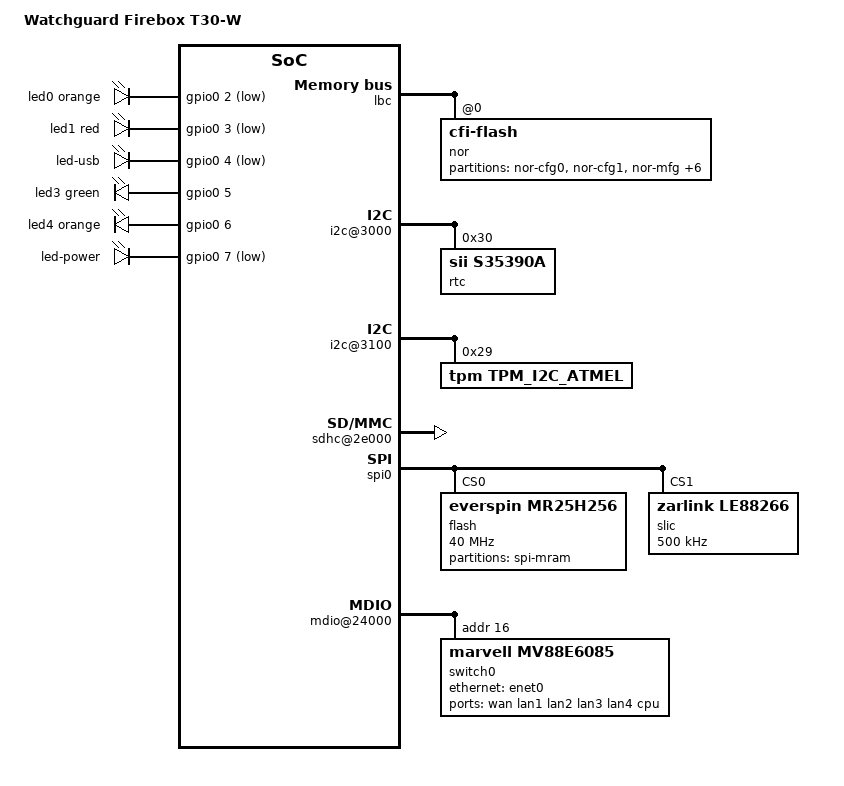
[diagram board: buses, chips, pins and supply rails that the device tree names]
// SPDX-License-Identifier: GPL-2.0-or-later OR MIT

#include <dt-bindings/gpio/gpio.h>
#include <dt-bindings/input/input.h>
#include <dt-bindings/leds/common.h>

/include/ "fsl/p1020si-pre.dtsi"

/ {
	model = "Watchguard Firebox T30-W";
	compatible = "watchguard,firebox-t30";

	chosen {
		bootargs-override = "console=ttyS0,115200 rw root=/dev/mmcblk0p2 rootfstype=squashfs rootwait";
	};

	aliases {
		label-mac-device = &enet0;
		led-boot = &led0;
		led-failsafe = &led1;
		led-running = &led0;
		led-upgrade = &led1;
	};

	memory {
		device_type = "memory";
	};

	cpus {
		/delete-property/ PowerPC,P1020@1;
	};

	lbc: localbus@ffe05000 {
		reg = <0 0xffe05000 0 0x1000>;
		ranges = <0x0 0x0 0x0 0xefc00000 0x400000>;

		nor@0 {
			compatible = "cfi-flash";
			reg = <0x0 0x0 0x400000>;
			bank-width = <2>;
			device-width = <1>;

			partitions {
				compatible = "fixed-partitions";
				#address-cells = <1>;
				#size-cells = <1>;

				partition@0 {
					reg = <0x0 0x20000>;
					label = "nor-cfg0";

					nvmem-layout {
						compatible = "fixed-layout";
						#address-cells = <1>;
						#size-cells = <1>;

						macaddr_nor_cfg0_1830: mac-address@1830 {
							compatible = "mac-base";
							reg = <0x1830 0x11>;
							#nvmem-cell-cells = <1>;
						};

						macaddr_nor_cfg0_1844: mac-address@1844 {
							compatible = "mac-base";
							reg = <0x1844 0x11>;
							#nvmem-cell-cells = <1>;
						};

						macaddr_nor_cfg0_1858: mac-address@1858 {
							compatible = "mac-base";
							reg = <0x1858 0x11>;
							#nvmem-cell-cells = <1>;
						};

						macaddr_nor_cfg0_186c: mac-address@186c {
							compatible = "mac-base";
							reg = <0x186c 0x11>;
							#nvmem-cell-cells = <1>;
						};

						macaddr_nor_cfg0_1880: mac-address@1880 {
							compatible = "mac-base";
							reg = <0x1880 0x11>;
							#nvmem-cell-cells = <1>;
						};

						macaddr_nor_cfg0_1894: mac-address@1894 {
							compatible = "mac-base";
							reg = <0x1894 0x11>;
							#nvmem-cell-cells = <1>;
						};
					};
				};

				partition@20000 {
					reg = <0x20000 0x10000>;
					label = "nor-cfg1";
				};

				partition@30000 {
					reg = <0x30000 0x20000>;
					label = "nor-mfg";
				};

				partition@50000 {
					reg = <0x50000 0xc0000>;
					label = "nor-bootopt";
				};

				partition@110000 {
					reg = <0x110000 0xc0000>;
					label = "nor-extra1";
				};

				partition@1d0000 {
					reg = <0x1d0000 0xc0000>;
					label = "nor-extra2";
				};

				partition@290000 {
					reg = <0x290000 0xe0000>;
					label = "nor-backup";
				};

				partition@370000 {
					reg = <0x370000 0x10000>;
					label = "nor-ubootenv";
				};

				partition@380000 {
					reg = <0x380000 0x80000>;
					label = "nor-uboot";
				};
			};
		};
	};

	soc: soc@ffe00000 {
		ranges = <0x0 0x0 0xffe00000 0x100000>;

		i2c@3000 {
			rtc@30 {
				compatible = "sii,s35390a";
				reg = <0x30>;
			};
		};

		i2c@3100 {
			tpm@29 {
				compatible = "tpm,tpm_i2c_atmel";
				reg = <0x29>;
			};
		};

		sdhc@2e000 {
			compatible = "fsl,p1020-esdhc", "fsl,esdhc";
			sdhci,auto-cmd12;
			reg = <0x2e000 0x1000>;
			interrupts = <0x48 0x2 0x0 0x0>;
			interrupt-parent = <&mpic>;
			fsl,sdhci-dma-broken;
			fsl,sdhci-ahb2mag-irq-bypass;
			fsl,sdhci-adjust-timeout;
			clock-frequency = <0>;
		};

		spi0: spi@7000 {
			compatible = "fsl,mpc8536-espi";
			reg = <0x7000 0x1000>;
			interrupts = <0x3b 0x2>;
			interrupt-parent = <&mpic>;
			fsl,espi-num-chipselects = <4>;
			#address-cells = <1>;
			#size-cells = <0>;

			flash@0 {
				compatible = "everspin,mr25h256", "jedec,spi-nor";
				reg = <0>;
				spi-max-frequency = <40000000>;
				m25p,fast-read;

				partitions {
					compatible = "fixed-partitions";
					#address-cells = <1>;
					#size-cells = <1>;

					partition@0 {
						reg = <0x0 0x8000>;
						label = "spi-mram";
					};
				};
			};

			slic@1 {
				compatible = "zarlink,le88266";
				reg = <1>;
				spi-max-frequency = <500000>;
			};
		};

		usb@22000 {
			phy_type = "ulpi";
			dr_mode = "host";
		};

		mdio@24000 {
			switch0: switch@10 {
				compatible = "marvell,mv88e6085";
				reg = <0x10>;


				ports {
					#address-cells = <1>;
					#size-cells = <0>;

					port@0 {
						reg = <0>;
						label = "wan";
						nvmem-cells = <&macaddr_nor_cfg0_1830 0>;
						nvmem-cell-names = "mac-address";
					};

					port@1 {
						reg = <1>;
						label = "lan1";
						nvmem-cells = <&macaddr_nor_cfg0_1844 0>;
						nvmem-cell-names = "mac-address";
					};

					port@2 {
						reg = <2>;
						label = "lan2";
						nvmem-cells = <&macaddr_nor_cfg0_1858 0>;
						nvmem-cell-names = "mac-address";
					};

					port@3 {
						reg = <3>;
						label = "lan3";
						nvmem-cells = <&macaddr_nor_cfg0_186c 0>;
						nvmem-cell-names = "mac-address";
					};

					port@4 {
						reg = <4>;
						label = "lan4";
						nvmem-cells = <&macaddr_nor_cfg0_1880 0>;
						nvmem-cell-names = "mac-address";
					};

					port@6 {
						reg = <6>;
						label = "cpu";
						ethernet = <&enet0>;
						phy-mode = "rgmii-id";

						fixed-link {
							speed = <1000>;
							full-duplex;
						};
					};
				};
			};
		};

		mdio@25000 {
			status = "disabled";
		};

		mdio@26000 {
			status = "disabled";
		};

		enet0: ethernet@b0000 {
			phy-connection-type = "rgmii-id";
			rx-internal-delay-ps = <2000>;
			tx-internal-delay-ps = <2000>;
			nvmem-cells = <&macaddr_nor_cfg0_1830 0>;
			nvmem-cell-names = "mac-address";

			fixed-link {
				speed = <1000>;
				full-duplex;
			};
		};

		enet1: ethernet@b1000 {
			status = "disabled";
		};

		enet2: ethernet@b2000 {
			status = "disabled";
		};

		gpio0: gpio-controller@fc00 {
		};
	};

	leds {
		compatible = "gpio-leds";

		led0: led-0 {
			gpios = <&gpio0 2 GPIO_ACTIVE_LOW>;
			color = <LED_COLOR_ID_ORANGE>;
			function = LED_FUNCTION_STATUS;
		};

		led1: led-1 {
			gpios = <&gpio0 3 GPIO_ACTIVE_LOW>;
			color = <LED_COLOR_ID_RED>;
			function = LED_FUNCTION_STATUS;
		};

		led2: led-2 {
			gpios = <&gpio0 4 GPIO_ACTIVE_LOW>;
			label = "led-usb";
		};

		led3: led-3 {
			gpios = <&gpio0 5 GPIO_ACTIVE_HIGH>;
			color = <LED_COLOR_ID_GREEN>;
			function = LED_FUNCTION_WLAN_5GHZ;
			default-state = "keep";
		};

		led4: led-4 {
			gpios = <&gpio0 6 GPIO_ACTIVE_HIGH>;
			color = <LED_COLOR_ID_ORANGE>;
			function = LED_FUNCTION_WLAN_2GHZ;
			default-state = "keep";
		};

		led5: led-5 {
			gpios = <&gpio0 7 GPIO_ACTIVE_LOW>;
			label = "led-power";
		};
	};

	pci0: pcie@ffe09000 {
		reg = <0 0xffe09000 0 0x1000>;
		ranges = <0x2000000 0x0 0xa0000000 0 0xa0000000 0x0 0x20000000
			  0x1000000 0x0 0x00000000 0 0xffc10000 0x0 0x10000>;
		status = "disabled";

		pcie@0 {
			ranges = <0x2000000 0x0 0xa0000000
				  0x2000000 0x0 0xa0000000
				  0x0 0x20000000

				  0x1000000 0x0 0x0
				  0x1000000 0x0 0x0
				  0x0 0x100000>;
		};
	};

	pci1: pcie@ffe0a000 {
		reg = <0 0xffe0a000 0 0x1000>;
		ranges = <0x2000000 0x0 0x80000000 0 0x80000000 0x0 0x20000000
			  0x1000000 0x0 0x00000000 0 0xffc00000 0x0 0x10000>;

		pcie@0 {
			ranges = <0x2000000 0x0 0x80000000
				  0x2000000 0x0 0x80000000
				  0x0 0x20000000

				  0x1000000 0x0 0x0
				  0x1000000 0x0 0x0
				  0x0 0x100000>;

			ath10k: wifi@0,0 {
				reg = <0x0000 0 0 0 0>;
				#gpio-cells = <2>;
				gpio-controller;
				nvmem-cells = <&macaddr_nor_cfg0_1894 0>;
				nvmem-cell-names = "mac-address";
			};
		};
	};
};

/include/ "fsl/p1020si-post.dtsi"
